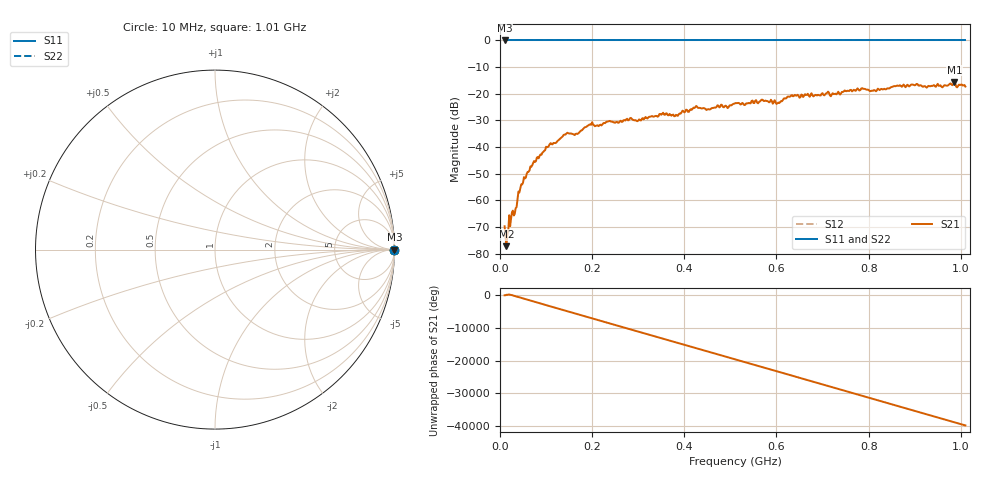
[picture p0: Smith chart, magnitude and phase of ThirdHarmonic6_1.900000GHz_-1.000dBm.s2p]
! 8/16/2025 10:56:09 PM
! C:\ANRITSUVNA\TEMP\TEMP.S2P
! CHANNEL.1
! TR.MEASUREMENT
! RAW.DATA
! RF.CORRECTION.OFF
! AVERAGING.OFF
! IF.BANDWIDTH: 5KHZ
! SWEEPTYPE:  FREQ.SWEEP(Linear)
! Reference Plane Port Info
! PORT:  PORT1  PORT2
! DISTANCE:  0  m  0  m
! TIME:  0  s  0  s
! PHASE.OFFSET:  0  deg.  0  deg.
! LOSS:  0  dB  0  dB
! REF.LOSS:  0  dB  0  dB
! REF.FREQ:  0  Hz  0  Hz
! Power Info
! POWER:  -20  dBm  -20  dBm
! EFF.POWER:  -20  dBm  -20  dBm
! SOURCE.ATTEN:  0  dB  0  dB
! TEST.ATTEN:  0  dB  0  dB
# GHZ S RI R 50.0
! FREQ.GHZ  S11RE  S11IM  S21RE  S21IM  S12RE  S12IM  S22RE  S22IM
!; PortSelection: Port_12
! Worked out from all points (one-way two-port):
!   501 points, 10 MHz to 1.01 GHz, reference 50 ohm
!   highest |S21| = -15.56 dB at 986 MHz (marker M1); lowest = -77.1 dB at 14 MHz (marker M2)
!   lowest |S11| = 0.0 dB at 10 MHz (marker M3)
!   |S11| at or under -10 dB: nowhere
!   |S22| runs from 0.0 to 0.0 dB; largest |S21 - S12| = 1.2
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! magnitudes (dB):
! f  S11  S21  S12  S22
! 10 MHz  0.0  -69.7  0.0  0.0
! 14 MHz  0.0  -77.1  0.0  0.0
! 18 MHz  0.0  -71.3  0.0  0.0
! 24 MHz  0.0  -66.8  0.0  0.0
! 34 MHz  0.0  -62.9  0.0  0.0
! 44 MHz  0.0  -55.5  0.0  0.0
! 70 MHz  0.0  -46.8  0.0  0.0
! 106 MHz  0.0  -39.5  0.0  0.0
! 142 MHz  0.0  -35.3  0.0  0.0
! 178 MHz  0.0  -33.7  0.0  0.0
! 196 MHz  0.0  -31.5  0.0  0.0
! 344 MHz  0.0  -28.4  0.0  0.0
! 382 MHz  0.0  -27.9  0.0  0.0
! 424 MHz  0.0  -25.0  0.0  0.0
! 452 MHz  0.0  -25.8  0.0  0.0
! 510 MHz  0.0  -23.6  0.0  0.0
! 604 MHz  0.0  -23.3  0.0  0.0
! 630 MHz  0.0  -21.0  0.0  0.0
! 678 MHz  0.0  -20.6  0.0  0.0
! 844 MHz  0.0  -18.0  0.0  0.0
! 986 MHz  0.0  -15.6  0.0  0.0
! 1.01 GHz  0.0  -17.3  0.0  0.0
